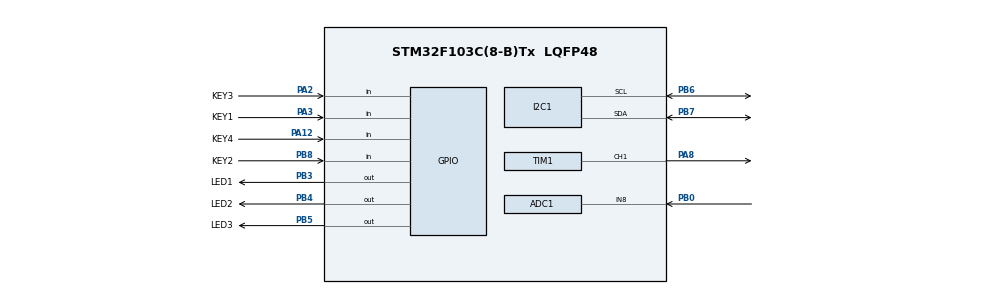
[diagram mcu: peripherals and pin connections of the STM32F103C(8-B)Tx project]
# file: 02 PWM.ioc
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ADC1.Channel-0\#ChannelRegularConversion=ADC_CHANNEL_8
ADC1.NbrOfConversionFlag=1
ADC1.Rank-0\#ChannelRegularConversion=1
ADC1.SamplingTime-0\#ChannelRegularConversion=ADC_SAMPLETIME_1CYCLE_5
ADC1.master=1
Mcu.Family=STM32F1
Mcu.Name=STM32F103C(8-B)Tx
Mcu.Package=LQFP48
NVIC.PriorityGroup=NVIC_PRIORITYGROUP_4
PA12.GPIO_Label=KEY4
PA12.GPIO_PuPd=GPIO_PULLUP
PA12.Signal=GPIO_Input
PA13.Mode=Serial_Wire
PA13.Signal=SYS_JTMS-SWDIO
PA14.Mode=Serial_Wire
PA14.Signal=SYS_JTCK-SWCLK
PA2.GPIO_Label=KEY3
PA2.GPIO_PuPd=GPIO_PULLUP
PA2.Signal=GPIO_Input
PA3.GPIO_Label=KEY1
PA3.GPIO_PuPd=GPIO_PULLUP
PA3.Signal=GPIO_Input
PA8.Signal=S_TIM1_CH1
PB0.Signal=ADCx_IN8
PB3.GPIO_Label=LED1
PB3.PinState=GPIO_PIN_RESET
PB3.Signal=GPIO_Output
PB4.GPIO_Label=LED2
PB4.Signal=GPIO_Output
PB5.GPIO_Label=LED3
PB5.Signal=GPIO_Output
PB6.Mode=I2C
PB6.Signal=I2C1_SCL
PB7.Mode=I2C
PB7.Signal=I2C1_SDA
PB8.GPIO_Label=KEY2
PB8.GPIO_PuPd=GPIO_PULLUP
PB8.Signal=GPIO_Input
PD0-OSC_IN.Mode=HSE-External-Oscillator
PD0-OSC_IN.Signal=RCC_OSC_IN
PD1-OSC_OUT.Mode=HSE-External-Oscillator
PD1-OSC_OUT.Signal=RCC_OSC_OUT
ProjectManager.HeapSize=0x200
ProjectManager.StackSize=0x400
ProjectManager.TargetToolchain=STM32CubeIDE
RCC.APB1Freq_Value=8000000
RCC.APB2Freq_Value=8000000
SH.ADCx_IN8.0=ADC1_IN8,IN8
SH.S_TIM1_CH1.0=TIM1_CH1,PWM Generation1 CH1
TIM1.Channel-PWM\ Generation1\ CH1=TIM_CHANNEL_1
board=custom

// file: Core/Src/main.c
/* USER CODE BEGIN Header */
/**
 ******************************************************************************
 * @file           : main.c
 * @brief          : Main program body
 ******************************************************************************
 * @attention
 *
 * Copyright (c) 2023 STMicroelectronics.
 * All rights reserved.
 *
 * This software is licensed under terms that can be found in the LICENSE file
 * in the root directory of this software component.
 * If no LICENSE file comes with this software, it is provided AS-IS.
 *
 ******************************************************************************
 */
/* USER CODE END Header */
#include "main.h"

/* USER CODE BEGIN PTD */
// button structure
typedef struct
{
	uint16_t PIN;
	uint8_t StateFlag;
	GPIO_TypeDef *PORT;
} button;
/* USER CODE END PTD */

/* USER CODE BEGIN PD */
#define MAX_PWM 65535
#define FALSE 0
#define TRUE !FALSE
/* USER CODE END PD */

ADC_HandleTypeDef hadc1;

I2C_HandleTypeDef hi2c1;

TIM_HandleTypeDef htim1;

void SystemClock_Config(void);
static void MX_GPIO_Init(void);
static void MX_I2C1_Init(void);
static void MX_ADC1_Init(void);
static void MX_TIM1_Init(void);

/* USER CODE BEGIN 0 */
//from tutorial 01
uint8_t Button_Check(button BTN)
{
	if (!HAL_GPIO_ReadPin(BTN.PORT, BTN.PIN) && !BTN.StateFlag)
	{
		BTN.StateFlag = TRUE;
		return TRUE;
	}
	else if (HAL_GPIO_ReadPin(BTN.PORT, BTN.PIN) && BTN.StateFlag)
	{
		BTN.StateFlag = FALSE;
		return FALSE;
	}
	return FALSE;
}
/* USER CODE END 0 */

int main(void)
{
	/* USER CODE BEGIN 1 */
	button KEY1;
	button KEY2;
	/* USER CODE END 1 */

	/* MCU Configuration--------------------------------------------------------*/

	/* Reset of all peripherals, Initializes the Flash interface and the Systick. */
	HAL_Init();

	/* Configure the system clock */
	SystemClock_Config();

	/* USER CODE BEGIN SysInit */
	KEY1.PIN = KEY1_Pin;
	KEY1.PORT = KEY1_GPIO_Port;
	KEY1.StateFlag = 0;

	KEY2.PIN = KEY2_Pin;
	KEY2.PORT = KEY2_GPIO_Port;
	KEY2.StateFlag = 0;

	/* USER CODE END SysInit */

	/* Initialize all configured peripherals */
	MX_GPIO_Init();
	MX_I2C1_Init();
	MX_ADC1_Init();
	MX_TIM1_Init();

	/* USER CODE BEGIN 2 */
	HAL_TIM_PWM_Start(&htim1, TIM_CHANNEL_1);
	/* USER CODE END 2 */

	/* Infinite loop */
	/* USER CODE BEGIN WHILE */
	while (1)
	{
		if (Button_Check(KEY1))//key 2 was pressed make PWM min on buzzer
		{
			TIM1->CCR1 = 0;
		}
		else if (Button_Check(KEY2))//key 2 was pressed make PWM max on buzzer
		{
			TIM1->CCR1 = MAX_PWM;
		}
		/* USER CODE END WHILE */

	}
}

void SystemClock_Config(void)
{
	RCC_OscInitTypeDef RCC_OscInitStruct =
	{ 0 };
	RCC_ClkInitTypeDef RCC_ClkInitStruct =
	{ 0 };
	RCC_PeriphCLKInitTypeDef PeriphClkInit =
	{ 0 };

	/** Initializes the RCC Oscillators according to the specified parameters
	 * in the RCC_OscInitTypeDef structure.
	 */
	RCC_OscInitStruct.OscillatorType = RCC_OSCILLATORTYPE_HSI;
	RCC_OscInitStruct.HSIState = RCC_HSI_ON;
	RCC_OscInitStruct.HSICalibrationValue = RCC_HSICALIBRATION_DEFAULT;
	RCC_OscInitStruct.PLL.PLLState = RCC_PLL_NONE;
	if (HAL_RCC_OscConfig(&RCC_OscInitStruct) != HAL_OK)
	{
		Error_Handler();
	}

	/** Initializes the CPU, AHB and APB buses clocks
	 */
	RCC_ClkInitStruct.ClockType = RCC_CLOCKTYPE_HCLK | RCC_CLOCKTYPE_SYSCLK
			| RCC_CLOCKTYPE_PCLK1 | RCC_CLOCKTYPE_PCLK2;
	RCC_ClkInitStruct.SYSCLKSource = RCC_SYSCLKSOURCE_HSI;
	RCC_ClkInitStruct.AHBCLKDivider = RCC_SYSCLK_DIV1;
	RCC_ClkInitStruct.APB1CLKDivider = RCC_HCLK_DIV1;
	RCC_ClkInitStruct.APB2CLKDivider = RCC_HCLK_DIV1;

	if (HAL_RCC_ClockConfig(&RCC_ClkInitStruct, FLASH_LATENCY_0) != HAL_OK)
	{
		Error_Handler();
	}
	PeriphClkInit.PeriphClockSelection = RCC_PERIPHCLK_ADC;
	PeriphClkInit.AdcClockSelection = RCC_ADCPCLK2_DIV2;
	if (HAL_RCCEx_PeriphCLKConfig(&PeriphClkInit) != HAL_OK)
	{
		Error_Handler();
	}
}

static void MX_ADC1_Init(void)
{

	ADC_ChannelConfTypeDef sConfig =
	{ 0 };

	/** Common config
	 */
	hadc1.Instance = ADC1;
	hadc1.Init.ScanConvMode = ADC_SCAN_DISABLE;
	hadc1.Init.ContinuousConvMode = DISABLE;
	hadc1.Init.DiscontinuousConvMode = DISABLE;
	hadc1.Init.ExternalTrigConv = ADC_SOFTWARE_START;
	hadc1.Init.DataAlign = ADC_DATAALIGN_RIGHT;
	hadc1.Init.NbrOfConversion = 1;
	if (HAL_ADC_Init(&hadc1) != HAL_OK)
	{
		Error_Handler();
	}

	/** Configure Regular Channel
	 */
	sConfig.Channel = ADC_CHANNEL_8;
	sConfig.Rank = ADC_REGULAR_RANK_1;
	sConfig.SamplingTime = ADC_SAMPLETIME_1CYCLE_5;
	if (HAL_ADC_ConfigChannel(&hadc1, &sConfig) != HAL_OK)
	{
		Error_Handler();
	}

}

static void MX_I2C1_Init(void)
{

	hi2c1.Instance = I2C1;
	hi2c1.Init.ClockSpeed = 100000;
	hi2c1.Init.DutyCycle = I2C_DUTYCYCLE_2;
	hi2c1.Init.OwnAddress1 = 0;
	hi2c1.Init.AddressingMode = I2C_ADDRESSINGMODE_7BIT;
	hi2c1.Init.DualAddressMode = I2C_DUALADDRESS_DISABLE;
	hi2c1.Init.OwnAddress2 = 0;
	hi2c1.Init.GeneralCallMode = I2C_GENERALCALL_DISABLE;
	hi2c1.Init.NoStretchMode = I2C_NOSTRETCH_DISABLE;
	if (HAL_I2C_Init(&hi2c1) != HAL_OK)
	{
		Error_Handler();
	}

}

static void MX_TIM1_Init(void)
{

	TIM_MasterConfigTypeDef sMasterConfig =
	{ 0 };
	TIM_OC_InitTypeDef sConfigOC =
	{ 0 };
	TIM_BreakDeadTimeConfigTypeDef sBreakDeadTimeConfig =
	{ 0 };

	htim1.Instance = TIM1;
	htim1.Init.Prescaler = 0;
	htim1.Init.CounterMode = TIM_COUNTERMODE_UP;
	htim1.Init.Period = 65535;
	htim1.Init.ClockDivision = TIM_CLOCKDIVISION_DIV1;
	htim1.Init.RepetitionCounter = 0;
	htim1.Init.AutoReloadPreload = TIM_AUTORELOAD_PRELOAD_DISABLE;
	if (HAL_TIM_PWM_Init(&htim1) != HAL_OK)
	{
		Error_Handler();
	}
	sMasterConfig.MasterOutputTrigger = TIM_TRGO_RESET;
	sMasterConfig.MasterSlaveMode = TIM_MASTERSLAVEMODE_DISABLE;
	if (HAL_TIMEx_MasterConfigSynchronization(&htim1, &sMasterConfig) != HAL_OK)
	{
		Error_Handler();
	}
	sConfigOC.OCMode = TIM_OCMODE_PWM1;
	sConfigOC.Pulse = 0;
	sConfigOC.OCPolarity = TIM_OCPOLARITY_HIGH;
	sConfigOC.OCNPolarity = TIM_OCNPOLARITY_HIGH;
	sConfigOC.OCFastMode = TIM_OCFAST_DISABLE;
	sConfigOC.OCIdleState = TIM_OCIDLESTATE_RESET;
	sConfigOC.OCNIdleState = TIM_OCNIDLESTATE_RESET;
	if (HAL_TIM_PWM_ConfigChannel(&htim1, &sConfigOC, TIM_CHANNEL_1) != HAL_OK)
	{
		Error_Handler();
	}
	sBreakDeadTimeConfig.OffStateRunMode = TIM_OSSR_DISABLE;
	sBreakDeadTimeConfig.OffStateIDLEMode = TIM_OSSI_DISABLE;
	sBreakDeadTimeConfig.LockLevel = TIM_LOCKLEVEL_OFF;
	sBreakDeadTimeConfig.DeadTime = 0;
	sBreakDeadTimeConfig.BreakState = TIM_BREAK_DISABLE;
	sBreakDeadTimeConfig.BreakPolarity = TIM_BREAKPOLARITY_HIGH;
	sBreakDeadTimeConfig.AutomaticOutput = TIM_AUTOMATICOUTPUT_DISABLE;
	if (HAL_TIMEx_ConfigBreakDeadTime(&htim1, &sBreakDeadTimeConfig) != HAL_OK)
	{
		Error_Handler();
	}
	HAL_TIM_MspPostInit(&htim1);

}

static void MX_GPIO_Init(void)
{
	GPIO_InitTypeDef GPIO_InitStruct =
	{ 0 };

	/* GPIO Ports Clock Enable */
	__HAL_RCC_GPIOD_CLK_ENABLE();
	__HAL_RCC_GPIOA_CLK_ENABLE();
	__HAL_RCC_GPIOB_CLK_ENABLE();

	/*Configure GPIO pin Output Level */
	HAL_GPIO_WritePin(GPIOB, LED1_Pin | LED2_Pin | LED3_Pin, GPIO_PIN_RESET);

	/*Configure GPIO pins : KEY3_Pin KEY1_Pin KEY4_Pin */
	GPIO_InitStruct.Pin = KEY3_Pin | KEY1_Pin | KEY4_Pin;
	GPIO_InitStruct.Mode = GPIO_MODE_INPUT;
	GPIO_InitStruct.Pull = GPIO_PULLUP;
	HAL_GPIO_Init(GPIOA, &GPIO_InitStruct);

	/*Configure GPIO pins : LED1_Pin LED2_Pin LED3_Pin */
	GPIO_InitStruct.Pin = LED1_Pin | LED2_Pin | LED3_Pin;
	GPIO_InitStruct.Mode = GPIO_MODE_OUTPUT_PP;
	GPIO_InitStruct.Pull = GPIO_NOPULL;
	GPIO_InitStruct.Speed = GPIO_SPEED_FREQ_LOW;
	HAL_GPIO_Init(GPIOB, &GPIO_InitStruct);

	/*Configure GPIO pin : KEY2_Pin */
	GPIO_InitStruct.Pin = KEY2_Pin;
	GPIO_InitStruct.Mode = GPIO_MODE_INPUT;
	GPIO_InitStruct.Pull = GPIO_PULLUP;
	HAL_GPIO_Init(KEY2_GPIO_Port, &GPIO_InitStruct);

}

void Error_Handler(void)
{
	__disable_irq();
	while (1)
	{
	}
}
